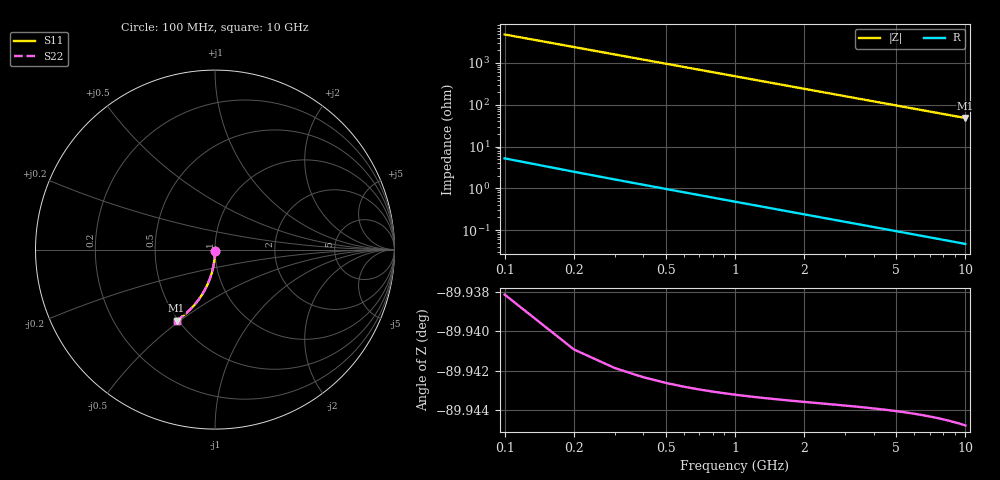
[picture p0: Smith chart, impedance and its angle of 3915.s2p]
# Hz S RI R 50.00
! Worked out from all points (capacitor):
!   100 points, 100 MHz to 10 GHz, reference 50 ohm
!   read as one part in shunt: C = 330 fF near 100 MHz
!   lowest |Z| = 48.3 ohm at 10 GHz (marker M1)
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1e8  1.07e-05 -0.00504  0.9999 -0.00533  0.9999 -0.00533  1.07e-05 -0.00504
2e8  -7.46e-05 -0.0101  0.9998 -0.0106  0.9998 -0.0106  -7.46e-05 -0.0101
3e8  -0.000214 -0.0151  0.9997 -0.016  0.9997 -0.016  -0.000214 -0.0151
4e8  -0.000406 -0.0201  0.9995 -0.0213  0.9995 -0.0213  -0.000406 -0.0201
5e8  -0.000652 -0.0252  0.9993 -0.0266  0.9993 -0.0266  -0.000652 -0.0252
6e8  -0.000952 -0.0302  0.999 -0.0319  0.999 -0.0319  -0.000952 -0.0302
7e8  -0.0013 -0.0352  0.9986 -0.0372  0.9986 -0.0372  -0.0013 -0.0352
8e8  -0.00171 -0.0402  0.9982 -0.0425  0.9982 -0.0425  -0.00171 -0.0402
9e8  -0.00217 -0.0452  0.9977 -0.0478  0.9977 -0.0478  -0.00217 -0.0452
1.1e9  -0.00325 -0.0552  0.9967 -0.0584  0.9967 -0.0584  -0.00325 -0.0552
1.4e9  -0.00526 -0.0702  0.9946 -0.0742  0.9946 -0.0742  -0.00526 -0.0702
1.8e9  -0.00867 -0.0899  0.9912 -0.0951  0.9912 -0.0951  -0.00867 -0.0899
2.1e9  -0.0118 -0.1046  0.9881 -0.1106  0.9881 -0.1106  -0.0118 -0.1046
2.5e9  -0.0166 -0.1239  0.9833 -0.1311  0.9833 -0.1311  -0.0166 -0.1239
2.9e9  -0.0222 -0.1429  0.9777 -0.1513  0.9777 -0.1513  -0.0222 -0.1429
3.4e9  -0.0303 -0.1662  0.9696 -0.176  0.9696 -0.176  -0.0303 -0.1662
4.2e9  -0.0455 -0.202  0.9543 -0.2142  0.9543 -0.2142  -0.0455 -0.202
5.1e9  -0.0658 -0.2401  0.934 -0.2549  0.934 -0.2549  -0.0658 -0.2401
5.9e9  -0.0862 -0.2717  0.9136 -0.2889  0.9136 -0.2889  -0.0862 -0.2717
6.7e9  -0.1085 -0.3009  0.8912 -0.3205  0.8912 -0.3205  -0.1085 -0.3009
8.4e9  -0.1609 -0.3548  0.8387 -0.3794  0.8387 -0.3794  -0.1609 -0.3548
1e10  -0.2141 -0.3952  0.7853 -0.4246  0.7853 -0.4246  -0.2141 -0.3952
